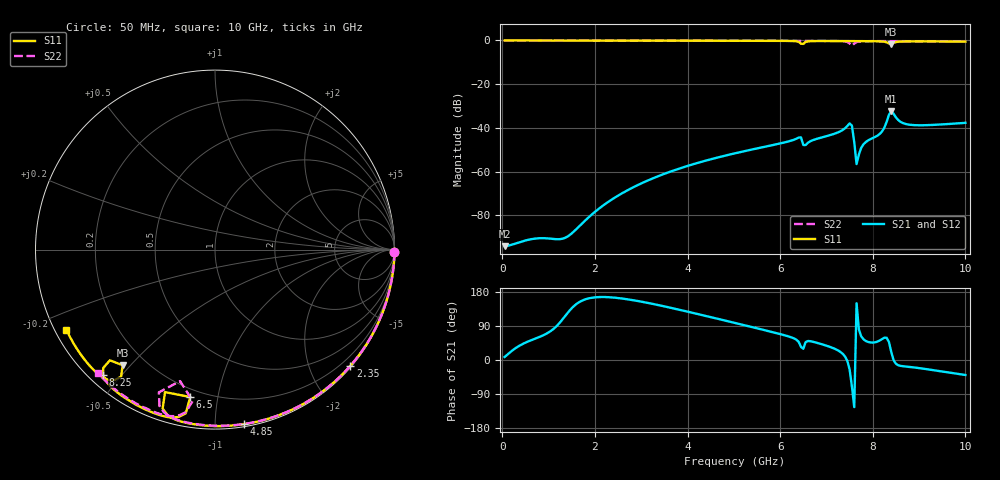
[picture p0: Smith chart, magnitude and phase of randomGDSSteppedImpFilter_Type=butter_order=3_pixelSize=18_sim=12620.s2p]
! freq	dB(S11)	phase(S11)	dB(S12)	phase(S12)
!  dB(S21)	phase(S21)	dB(S22)	phase(S22)
!S-par simulation data
#  GHz  S  DB  R 50
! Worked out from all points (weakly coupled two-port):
!   200 points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, 50 MHz to 10 GHz, reference 50 ohm
!   highest |S21| = -32.38 dB at 8.4 GHz (marker M1); lowest = -94.1 dB at 50 MHz (marker M2)
!   lowest |S11| = -1.7 dB at 8.4 GHz (marker M3), VSWR 10.37, Z = 5.92 - j23.8 ohm
!   |S11| at or under -10 dB: nowhere
!   |S22| runs from -2.4 to 0.0 dB; largest |S21 - S12| = 0
!   S11 on the Smith chart (normalised r, x): 50 MHz: open; 2.35 GHz: 0.02, -2.70; 4.85 GHz: 0.02, -1.18; 6.5 GHz: 0.16, -0.83; 8.25 GHz: 0.04, -0.45; 10 GHz: 0.03, -0.25
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0.05  -0.00 -0.9  -94.14 7.9  -94.14 7.9  -0.00 -0.8
1.75  -0.04 -30.5  -83.21 158.1  -83.21 158.1  -0.03 -26.7
1.9  -0.04 -33.0  -80.26 163.5  -80.26 163.5  -0.04 -28.9
2.35  -0.05 -40.6  -72.99 165.3  -72.99 165.3  -0.05 -35.6
3.4  -0.08 -57.9  -61.83 144.1  -61.83 144.1  -0.07 -50.8
4.85  -0.12 -80.6  -52.51 102.9  -52.51 102.9  -0.11 -70.8
5.05  -0.13 -83.7  -51.52 97.1  -51.52 97.1  -0.11 -73.5
6.4  -0.61 -108.2  -44.43 47.9  -44.43 47.9  -0.17 -91.3
6.45  -1.50 -109.3  -44.36 34.6  -44.36 34.6  -0.17 -92.0
6.5  -1.59 -99.5  -47.86 29.6  -47.86 29.6  -0.18 -92.6
6.7  -0.28 -105.2  -45.68 48.4  -45.68 48.4  -0.19 -95.3
7.35  -0.26 -116.1  -40.97 16.5  -40.97 16.5  -0.35 -105.9
7.5  -0.28 -118.4  -37.98 -24.8  -37.98 -24.8  -1.37 -111.5
7.55  -0.29 -119.1  -38.98 -70.5  -38.98 -70.5  -2.41 -104.9
7.65  -0.29 -120.6  -56.58 149.8  -56.58 149.8  -0.73 -100.2
7.8  -0.31 -122.9  -47.50 54.6  -47.50 54.6  -0.35 -104.9
8.25  -0.59 -131.8  -39.89 58.9  -39.89 58.9  -0.31 -112.1
8.35  -1.40 -133.5  -33.97 47.1  -33.97 47.1  -0.32 -113.4
8.4  -1.68 -128.6  -32.38 20.8  -32.38 20.8  -0.32 -113.9
8.6  -0.51 -130.3  -37.24 -15.5  -37.24 -15.5  -0.32 -116.5
8.8  -0.43 -134.2  -38.58 -18.4  -38.58 -18.4  -0.33 -119.0
10  -0.53 -151.7  -37.70 -39.5  -37.70 -39.5  -0.46 -133.5
